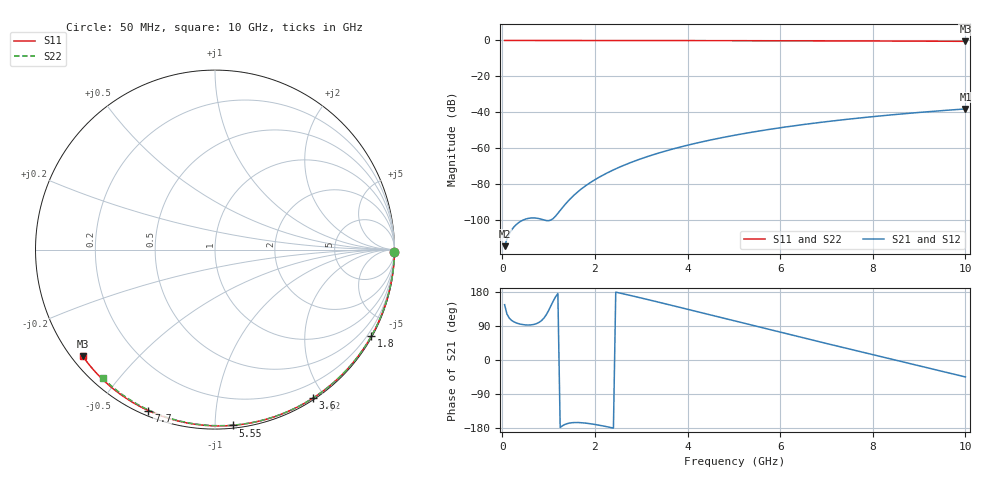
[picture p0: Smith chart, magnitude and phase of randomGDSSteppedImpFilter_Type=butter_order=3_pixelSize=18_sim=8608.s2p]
! freq	dB(S11)	phase(S11)	dB(S12)	phase(S12)
!  dB(S21)	phase(S21)	dB(S22)	phase(S22)
!S-par simulation data
#  GHz  S  DB  R 50
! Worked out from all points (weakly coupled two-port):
!   200 points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, 50 MHz to 10 GHz, reference 50 ohm
!   highest |S21| = -38.09 dB at 10 GHz (marker M1); lowest = -114.4 dB at 50 MHz (marker M2)
!   lowest |S11| = -0.5 dB at 10 GHz (marker M3), VSWR 36.37, Z = 1.55 - j17.6 ohm
!   |S11| at or under -10 dB: nowhere
!   |S22| runs from -0.4 to 0.0 dB; largest |S21 - S12| = 0
!   S11 on the Smith chart (normalised r, x): 50 MHz: open; 1.8 GHz: 0.03, -3.87; 3.6 GHz: 0.02, -1.86; 5.55 GHz: 0.02, -1.10; 7.7 GHz: 0.02, -0.67; 10 GHz: 0.03, -0.35
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0.05  -0.00 -0.8  -114.43 145.9  -114.43 145.9  -0.00 -0.8
0.45  -0.01 -7.4  -99.89 93.3  -99.89 93.3  -0.01 -6.8
0.9  -0.02 -14.6  -99.88 110.8  -99.88 110.8  -0.02 -13.6
1.75  -0.04 -28.2  -81.77 -165.9  -81.77 -165.9  -0.03 -26.1
1.8  -0.04 -29.0  -80.82 -166.6  -80.82 -166.6  -0.03 -26.9
1.85  -0.04 -29.7  -79.93 -167.3  -79.93 -167.3  -0.04 -27.6
2  -0.04 -32.1  -77.45 -170.1  -77.45 -170.1  -0.04 -29.8
2.15  -0.04 -34.5  -75.24 -173.4  -75.24 -173.4  -0.04 -32.0
2.35  -0.05 -37.6  -72.61 -178.3  -72.61 -178.3  -0.04 -34.9
2.55  -0.05 -40.7  -70.25 176.4  -70.25 176.4  -0.05 -37.7
2.95  -0.06 -46.8  -66.22 165.1  -66.22 165.1  -0.06 -43.4
3.4  -0.07 -53.6  -62.44 151.9  -62.44 151.9  -0.07 -49.8
3.6  -0.08 -56.5  -60.96 145.9  -60.96 145.9  -0.07 -52.5
4.3  -0.09 -66.8  -56.47 124.8  -56.47 124.8  -0.09 -62.1
5.05  -0.12 -77.4  -52.56 102.1  -52.56 102.1  -0.11 -72.0
5.55  -0.14 -84.3  -50.35 87.0  -50.35 87.0  -0.13 -78.5
6.1  -0.16 -91.7  -48.19 70.5  -48.19 70.5  -0.15 -85.4
6.7  -0.19 -99.7  -46.11 52.5  -46.11 52.5  -0.18 -92.8
7.7  -0.26 -112.5  -43.16 22.9  -43.16 22.9  -0.24 -104.8
8.35  -0.31 -120.7  -41.52 3.9  -41.52 3.9  -0.29 -112.4
9.2  -0.39 -131.2  -39.62 -21.0  -39.62 -21.0  -0.36 -122.1
10  -0.48 -141.1  -38.09 -44.7  -38.09 -44.7  -0.45 -131.1
